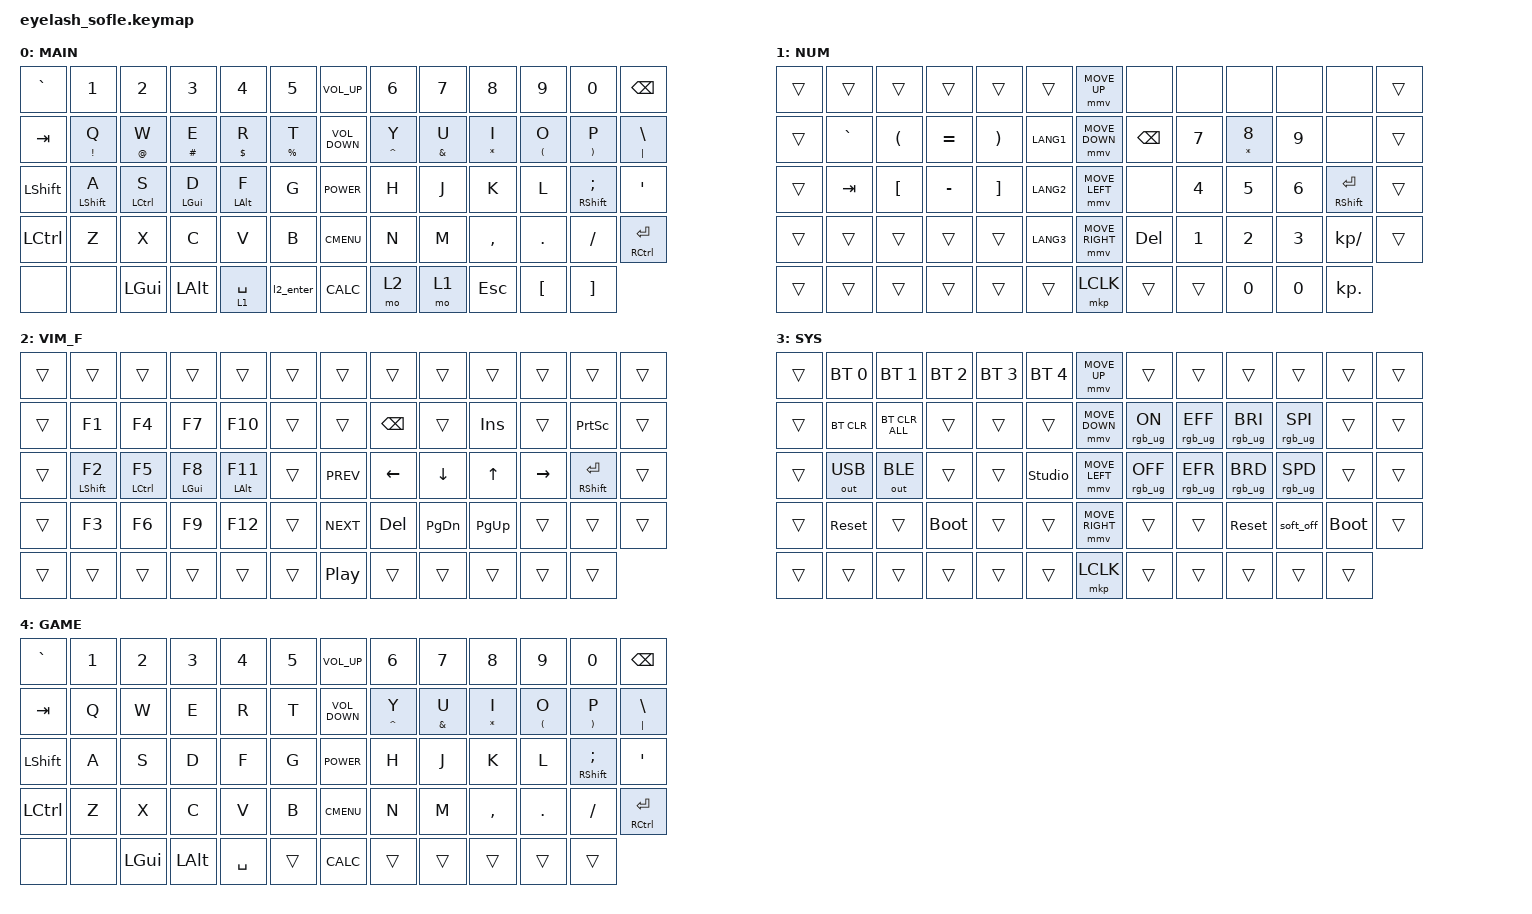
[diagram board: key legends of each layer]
#define ZMK_POINTING_DEFAULT_MOVE_VAL 1200  // 600
#define ZMK_POINTING_DEFAULT_SCRL_VAL 25   // 10

#include <input/processors.dtsi>
#include <zephyr/dt-bindings/input/input-event-codes.h>
#include <behaviors.dtsi>
#include <dt-bindings/zmk/bt.h>
#include <dt-bindings/zmk/keys.h>
#include <dt-bindings/zmk/outputs.h>
#include <dt-bindings/zmk/pointing.h>
#include <dt-bindings/zmk/rgb.h>

&mt {
    quick-tap-ms = <175>;
    flavor = "balanced";
};

&lt { quick-tap-ms = <175>; };

&msc {
    acceleration-exponent = <1>;      // 0
    time-to-max-speed-ms = <100>;       // 300
    delay-ms = <0>;                   // 0
};

&mmv {
    time-to-max-speed-ms = <500>;
    acceleration-exponent = <1>;
    trigger-period-ms = <16>;
};

&soft_off { hold-time-ms = <2000>; };

/ {
    esc_tilde: esc_tilde {
        compatible = "zmk,behavior-mod-morph";
        label = "ESC_TILDE";
        bindings = <&kp ESC>, <&kp TILDE>;

        #binding-cells = <0>;
        mods = <(MOD_LSFT|MOD_RSFT)>;
    };

    long_press: long_press {
        compatible = "zmk,behavior-hold-tap";
        label = "LONG_PRESS";
        bindings = <&kp>, <&kp>;

        #binding-cells = <2>;
        tapping-term-ms = <200>;
        quick-tap-ms = <0>;
        flavor = "tap-preferred";
    };

    fast_lt: fast_lt {
        compatible = "zmk,behavior-hold-tap";
        label = "FAST_LT";
        bindings = <&mo>, <&kp>;

        #binding-cells = <2>;
        flavor = "balanced";
        tapping-term-ms = <150>;
    };

    fast_mt: fast_mt {
        compatible = "zmk,behavior-hold-tap";
        label = "FAST_MT";
        bindings = <&kp>, <&kp>;

        #binding-cells = <2>;
        tapping-term-ms = <150>;
        flavor = "balanced";
    };

    l2_enter: l2_enter {
        compatible = "zmk,behavior-tap-dance";
        label = "L2_ENTER";
        #binding-cells = <0>;
        bindings = <&mo 2>, <&kp ENTER>;

        tapping-term-ms = <250>;
    };

    behaviors {
    };

    combos {
        compatible = "zmk,combos";

        softoff {
            bindings = <&soft_off>;
            key-positions = <14 28 40>;
            layers = <3>;
        };

        Game_toggle {
            bindings = <&tog 4>;
            key-positions = <56 57 55>;
            layers = <0 4>;
        };

        L3_SYS {
            bindings = <&mo 3>;
            key-positions = <53 54>;
        };

        eq_arrow {
            bindings = <&eq_arrow>;
            key-positions = <62 49>;
            layers = <0>;
        };

        arrow {
            bindings = <&arrow>;
            key-positions = <63 49>;
            layers = <0>;
        };

        c_end {
            bindings = <&kp END>;
            key-positions = <48 49>;
            require-prior-idle-ms = <120>;
        };

        c_home {
            bindings = <&kp HOME>;
            key-positions = <48 47>;
            require-prior-idle-ms = <120>;
        };

        combo_esc {
            bindings = <&kp ESC>;
            key-positions = <16 15 17>;
            require-prior-idle-ms = <200>;
        };

        combo_tab {
            bindings = <&kp TAB>;
            key-positions = <29 28 30>;
            require-prior-idle-ms = <200>;
            layers = <0>;
        };
    };

    macros {
        arrow: arrow {
            compatible = "zmk,behavior-macro";
            #binding-cells = <0>;
            bindings = <&kp MINUS &kp GT>;
            label = "ARROW";
        };

        eq_arrow: eq_arrow {
            compatible = "zmk,behavior-macro";
            #binding-cells = <0>;
            bindings = <&kp EQUAL &kp GT>;
            label = "EQ_ARROW";
        };
    };

    keymap {
        compatible = "zmk,keymap";

        QWERTY {
            bindings = <
&kp GRAVE       &kp N1                     &kp N2                 &kp N3               &kp N4                &kp N5                   &kp C_VOL_UP       &kp N6               &kp N7                   &kp N8               &kp N9                          &kp N0                           &kp BACKSPACE
&kp TAB         &long_press EXCLAMATION Q  &long_press AT_SIGN W  &long_press POUND E  &long_press DOLLAR R  &long_press PERCENT T    &kp C_VOLUME_DOWN  &long_press CARET Y  &long_press AMPERSAND U  &long_press ASTRK I  &long_press LEFT_PARENTHESIS O  &long_press RIGHT_PARENTHESIS P  &long_press PIPE BSLH
&kp LEFT_SHIFT  &fast_mt LSHIFT A          &fast_mt LCTRL S       &fast_mt LGUI D      &fast_mt LALT F       &kp G                    &kp C_POWER        &kp H                &kp J                    &kp K                &kp L                           &fast_mt RSHIFT SEMI             &kp APOS
&kp LCTRL       &kp Z                      &kp X                  &kp C                &kp V                 &kp B                    &kp K_CMENU        &kp N                &kp M                    &kp COMMA            &kp DOT                         &kp FSLH                         &fast_mt RCTRL ENTER
&none           &none                      &kp LEFT_GUI           &kp LEFT_ALT         &fast_lt 1 SPACE      &l2_enter                &kp K_CALC         &mo 2                &mo 1                    &kp ESC              &kp LBKT                        &kp RBKT
            >;

            display-name = "MAIN";
        };

        NUMS_SYMS {
            bindings = <
&trans  &trans     &trans                &trans     &trans                 &trans       &mmv MOVE_UP     &none          &none   &none                 &none   &none             &trans
&trans  &kp GRAVE  &kp LEFT_PARENTHESIS  &kp EQUAL  &kp RIGHT_PARENTHESIS  &kp LANG1    &mmv MOVE_DOWN   &kp BACKSPACE  &kp N7  &long_press ASTRK N8  &kp N9  &none             &trans
&trans  &kp TAB    &kp LBKT              &kp MINUS  &kp RBKT               &kp LANG2    &mmv MOVE_LEFT   &none          &kp N4  &kp N5                &kp N6  &mt RSHIFT ENTER  &trans
&trans  &trans     &trans                &trans     &trans                 &kp LANG3    &mmv MOVE_RIGHT  &kp DEL        &kp N1  &kp N2                &kp N3  &kp KP_SLASH      &trans
&trans  &trans     &trans                &trans     &trans                 &trans       &mkp LCLK        &trans         &trans  &kp N0                &kp N0  &kp KP_DOT
            >;

            display-name = "NUM";
        };

        vim-mo_fun {
            bindings = <
&trans  &trans         &trans        &trans       &trans        &trans    &trans      &trans         &trans         &trans       &trans     &trans            &trans
&trans  &kp F1         &kp F4        &kp F7       &kp F10       &trans    &trans      &kp BACKSPACE  &trans         &kp INS      &trans     &kp PSCRN         &trans
&trans  &mt LSHIFT F2  &mt LCTRL F5  &mt LGUI F8  &mt LALT F11  &trans    &kp C_PREV  &kp LEFT       &kp DOWN       &kp UP       &kp RIGHT  &mt RSHIFT ENTER  &trans
&trans  &kp F3         &kp F6        &kp F9       &kp F12       &trans    &kp C_NEXT  &kp DEL        &kp PAGE_DOWN  &kp PAGE_UP  &trans     &trans            &trans
&trans  &trans         &trans        &trans       &trans        &trans    &kp C_PP    &trans         &trans         &trans       &trans     &trans
            >;

            display-name = "VIM_F";
        };

        SYS {
            bindings = <
&trans  &bt BT_SEL 0  &bt BT_SEL 1    &bt BT_SEL 2  &bt BT_SEL 3  &bt BT_SEL 4      &mmv MOVE_UP     &trans           &trans           &trans           &trans           &trans       &trans
&trans  &bt BT_CLR    &bt BT_CLR_ALL  &trans        &trans        &trans            &mmv MOVE_DOWN   &rgb_ug RGB_ON   &rgb_ug RGB_EFF  &rgb_ug RGB_BRI  &rgb_ug RGB_SPI  &trans       &trans
&trans  &out OUT_USB  &out OUT_BLE    &trans        &trans        &studio_unlock    &mmv MOVE_LEFT   &rgb_ug RGB_OFF  &rgb_ug RGB_EFR  &rgb_ug RGB_BRD  &rgb_ug RGB_SPD  &trans       &trans
&trans  &sys_reset    &trans          &bootloader   &trans        &trans            &mmv MOVE_RIGHT  &trans           &trans           &sys_reset       &soft_off        &bootloader  &trans
&trans  &trans        &trans          &trans        &trans        &trans            &mkp LCLK        &trans           &trans           &trans           &trans           &trans
            >;

            display-name = "SYS";
        };

        game {
            display-name = "GAME";
            bindings = <
&kp GRAVE       &kp N1  &kp N2        &kp N3    &kp N4     &kp N5    &kp C_VOL_UP       &kp N6               &kp N7                   &kp N8               &kp N9                          &kp N0                           &kp BACKSPACE
&kp TAB         &kp Q   &kp W         &kp E     &kp R      &kp T     &kp C_VOLUME_DOWN  &long_press CARET Y  &long_press AMPERSAND U  &long_press ASTRK I  &long_press LEFT_PARENTHESIS O  &long_press RIGHT_PARENTHESIS P  &long_press PIPE BSLH
&kp LEFT_SHIFT  &kp A   &kp S         &kp D     &kp F      &kp G     &kp C_POWER        &kp H                &kp J                    &kp K                &kp L                           &fast_mt RSHIFT SEMI             &kp APOS
&kp LCTRL       &kp Z   &kp X         &kp C     &kp V      &kp B     &kp K_CMENU        &kp N                &kp M                    &kp COMMA            &kp DOT                         &kp FSLH                         &fast_mt RCTRL ENTER
&none           &none   &kp LEFT_GUI  &kp LALT  &kp SPACE  &trans    &kp K_CALC         &trans               &trans                   &trans               &trans                          &trans
            >;
        };
    };

    conditional_layers { compatible = "zmk,conditional-layers"; };
};
